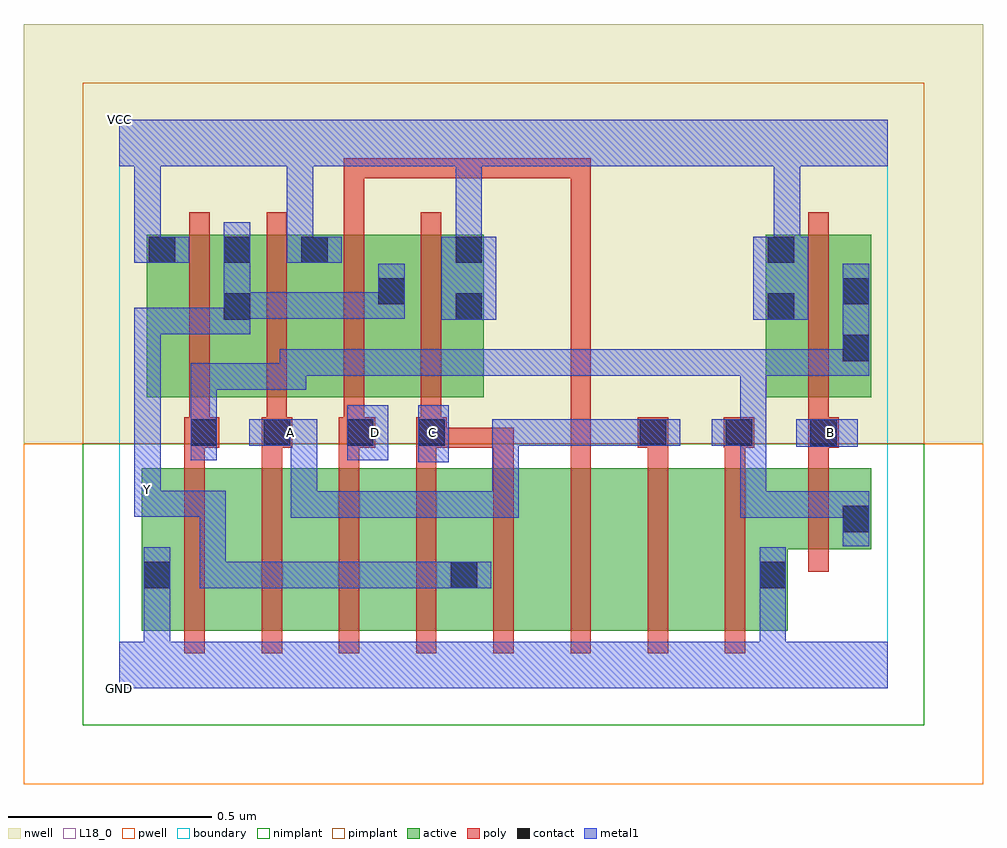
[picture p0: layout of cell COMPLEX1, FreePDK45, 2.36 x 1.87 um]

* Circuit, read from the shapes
.subckt COMPLEX1 A B C D GND VCC Y
M1 n1 n2 GND VSUBS nfet w=0.4u l=0.05u
M2 n3 A n1 VSUBS nfet w=0.4u l=0.05u
M3 n4 D n3 VSUBS nfet w=0.4u l=0.05u
M4 Y C n4 VSUBS nfet w=0.4u l=0.05u
M5 n5 C Y VSUBS nfet w=0.4u l=0.05u
M6 n6 D n5 VSUBS nfet w=0.4u l=0.05u
M7 n7 A n6 VSUBS nfet w=0.4u l=0.05u
M8 GND n2 n7 VSUBS nfet w=0.4u l=0.05u
M9 n2 B GND VSUBS nfet w=0.2u l=0.05u
M10 Y n2 VCC n8 pfet w=0.4u l=0.05u
M11 VCC A Y n8 pfet w=0.4u l=0.05u
M12 Y D VCC n8 pfet w=0.4u l=0.05u
M13 VCC C Y n8 pfet w=0.4u l=0.05u
M14 n2 B VCC n8 pfet w=0.4u l=0.05u
.ends

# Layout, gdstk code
import gdstk
lib = gdstk.Library(unit=1e-6, precision=1e-09)
def R(c, l, rs):  # rectangles x0, y0, x1, y1
    for r in rs: c.add(gdstk.rectangle(r[:2], r[2:], *l))
def A(c, l, x, y, w, h, nx, ny, dx, dy):  # array of equal rectangles
    R(c, l, [(x+i*dx, y+j*dy, x+i*dx+w, y+j*dy+h) for i in range(nx) for j in range(ny)])
active = (1, 0)
pwell = (2, 0)
nwell = (3, 0)
nimplant = (4, 0)
pimplant = (5, 0)
poly = (9, 0)
contact = (10, 0)
metal1 = (11, 0)
L18_0 = (18, 0)
boundary = (235, 0)

complex1 = lib.new_cell('COMPLEX1')
A(complex1, active, 0.252, 0.717, 0.265, 0.4, 3, 1, 0.19, 0)
R(complex1, active, [(0.055,0.142,0.28,0.542), (0.055,0.142,0.13,0.542), (0.28,0.142,0.47,0.542), (0.47,0.142,0.66,0.542), (0.66,0.142,0.885,0.542), (0.81,0.142,1.04,0.542), (1.04,0.142,1.23,0.542), (1.23,0.142,1.42,0.542), (1.42,0.142,1.645,0.542), (0.81,0.147,0.885,0.492), (1.57,0.147,1.645,0.355), (1.57,0.342,1.85,0.542), (1.775,0.342,1.85,0.542), (0.067,0.717,0.142,1.117), (0.067,0.717,0.327,1.117), (1.59,0.717,1.665,1.117), (1.59,0.717,1.85,1.117), (1.775,0.717,1.85,1.057), (0.822,0.782,0.897,1.117), (0.252,0.802,0.327,1.117), (0.632,0.802,0.707,1.117), (0.442,0.907,0.517,1.117)])
R(complex1, pwell, [(-0.235,-0.235,2.125,0.602)])
R(complex1, nwell, [(-0.235,0.602,2.125,1.635)])
R(complex1, nimplant, [(-0.09,-0.09,1.98,0.602)])
R(complex1, pimplant, [(-0.09,0.602,1.98,1.49)])
A(complex1, poly, 0.16, 0.087, 0.05, 0.51, 8, 1, 0.19, 0)
A(complex1, poly, 0.16, 0.547, 0.05, 0.095, 5, 1, 0.19, 0)
A(complex1, poly, 0.172, 0.617, 0.05, 0.095, 4, 1, 0.19, 0)
A(complex1, poly, 0.172, 0.662, 0.05, 0.51, 4, 1, 0.19, 0)
R(complex1, poly, [(1.695,0.287,1.745,0.597), (1.11,0.547,1.16,1.305), (1.3,0.547,1.35,0.642), (1.49,0.547,1.54,0.642), (1.695,0.547,1.745,0.642), (0.16,0.592,0.245,0.667), (0.35,0.592,0.425,0.667), (0.54,0.592,0.63,0.667), (0.73,0.592,0.805,0.667), (0.755,0.592,0.97,0.642), (0.92,0.592,0.97,0.642), (0.92,0.592,0.97,0.642), (0.92,0.592,0.97,0.642), (1.275,0.592,1.35,0.667), (1.487,0.592,1.562,0.667), (1.695,0.592,1.77,0.667), (1.695,0.617,1.745,0.712), (1.695,0.662,1.745,1.172), (0.552,1.122,0.602,1.305), (0.552,1.255,0.602,1.305), (0.552,1.255,0.602,1.305), (0.552,1.255,0.602,1.305), (0.552,1.255,0.735,1.305), (0.685,1.255,0.735,1.305), (0.685,1.255,0.937,1.305), (0.887,1.255,0.937,1.305), (0.887,1.255,0.937,1.305), (0.887,1.255,0.937,1.305), (0.887,1.255,0.937,1.305), (0.887,1.255,0.937,1.305), (0.887,1.255,1.16,1.305), (1.11,1.255,1.16,1.305), (1.11,1.255,1.16,1.305), (1.11,1.255,1.16,1.305), (1.11,1.255,1.16,1.305), (1.11,1.255,1.16,1.305), (1.11,1.255,1.16,1.305), (1.11,1.255,1.16,1.305), (1.11,1.255,1.16,1.305), (1.11,1.255,1.16,1.305), (1.11,1.255,1.16,1.305), (1.11,1.255,1.16,1.305)])
R(complex1, contact, [(0.06,0.247,0.125,0.312), (0.815,0.247,0.88,0.312), (1.575,0.247,1.64,0.312), (1.78,0.385,1.845,0.45), (0.175,0.597,0.24,0.662), (0.355,0.597,0.42,0.662), (0.56,0.597,0.625,0.662), (0.735,0.597,0.8,0.662), (1.28,0.597,1.345,0.662), (1.492,0.597,1.557,0.662), (1.7,0.597,1.765,0.662), (1.78,0.805,1.845,0.87), (0.257,0.907,0.322,0.972), (0.827,0.907,0.892,0.972), (1.595,0.907,1.66,0.972), (0.637,0.945,0.702,1.01), (1.78,0.945,1.845,1.01), (0.072,1.047,0.137,1.112), (0.257,1.047,0.322,1.112), (0.447,1.047,0.512,1.112), (0.827,1.047,0.892,1.112), (1.595,1.047,1.66,1.112)])
R(complex1, metal1, [(0,0,1.89,0.115), (0.06,0.05,0.125,0.277), (1.575,0.05,1.64,0.277), (0.06,0.212,0.125,0.347), (1.575,0.212,1.64,0.347), (0.197,0.247,0.262,0.312), (0.197,0.247,0.487,0.312), (0.197,0.247,0.262,0.487), (0.422,0.247,0.487,0.312), (0.422,0.247,0.487,0.312), (0.422,0.247,0.487,0.312), (0.422,0.247,0.625,0.312), (0.56,0.247,0.625,0.312), (0.56,0.247,0.625,0.312), (0.56,0.247,0.625,0.312), (0.56,0.247,0.845,0.312), (0.78,0.247,0.845,0.312), (0.78,0.247,0.845,0.312), (0.78,0.247,0.915,0.312), (1.78,0.35,1.845,0.485), (0.422,0.42,0.487,0.485), (0.422,0.42,0.487,0.662), (0.422,0.42,0.662,0.485), (0.597,0.42,0.662,0.485), (0.597,0.42,0.662,0.485), (0.597,0.42,0.662,0.485), (0.597,0.42,0.8,0.485), (0.735,0.42,0.8,0.485), (0.735,0.42,0.982,0.485), (0.917,0.42,0.982,0.485), (0.917,0.42,0.982,0.662), (1.527,0.42,1.592,0.485), (1.527,0.42,1.845,0.485), (1.527,0.42,1.592,0.662), (1.78,0.42,1.845,0.485), (1.78,0.42,1.845,0.485), (0.037,0.422,0.102,0.487), (0.037,0.422,0.102,0.487), (0.037,0.422,0.102,0.487), (0.037,0.422,0.102,0.487), (0.037,0.422,0.102,0.557), (0.037,0.422,0.262,0.487), (0.197,0.422,0.262,0.487), (0.037,0.492,0.102,0.557), (0.037,0.492,0.102,0.557), (0.037,0.492,0.102,0.937), (0.735,0.557,0.81,0.697), (0.175,0.562,0.24,0.697), (0.56,0.562,0.662,0.697), (1.665,0.595,1.817,0.662), (0.32,0.597,0.487,0.662), (0.422,0.597,0.487,0.662), (0.422,0.597,0.487,0.662), (0.917,0.597,0.982,0.662), (0.917,0.597,0.982,0.662), (0.917,0.597,0.982,0.662), (0.917,0.597,1.12,0.662), (1.055,0.597,1.12,0.662), (1.055,0.597,1.12,0.662), (1.055,0.597,1.12,0.662), (1.055,0.597,1.31,0.662), (1.245,0.597,1.31,0.662), (1.245,0.597,1.31,0.662), (1.245,0.597,1.38,0.662), (1.457,0.597,1.592,0.662), (1.527,0.597,1.592,0.662), (1.527,0.597,1.592,0.662), (1.527,0.597,1.592,0.835), (0.175,0.632,0.24,0.697), (0.175,0.632,0.24,0.697), (0.175,0.632,0.24,0.8), (0.175,0.735,0.24,0.8), (0.175,0.735,0.46,0.8), (0.395,0.735,0.46,0.835), (0.395,0.77,0.46,0.835), (0.395,0.77,0.46,0.835), (0.395,0.77,0.662,0.835), (0.597,0.77,0.662,0.835), (0.597,0.77,0.662,0.835), (0.597,0.77,0.662,0.835), (0.597,0.77,0.845,0.835), (0.78,0.77,0.845,0.835), (0.78,0.77,0.982,0.835), (0.917,0.77,0.982,0.835), (0.917,0.77,0.982,0.835), (0.917,0.77,0.982,0.835), (0.917,0.77,1.172,0.835), (1.107,0.77,1.172,0.835), (1.107,0.77,1.172,0.835), (1.107,0.77,1.172,0.835), (1.107,0.77,1.312,0.835), (1.247,0.77,1.312,0.835), (1.247,0.77,1.312,0.835), (1.247,0.77,1.312,0.835), (1.247,0.77,1.45,0.835), (1.385,0.77,1.45,0.835), (1.385,0.77,1.45,0.835), (1.385,0.77,1.45,0.835), (1.385,0.77,1.592,0.835), (1.527,0.77,1.592,0.835), (1.527,0.77,1.845,0.835), (1.78,0.77,1.845,0.835), (1.78,0.77,1.845,0.835), (1.78,0.77,1.845,1.045), (0.037,0.872,0.102,0.937), (0.037,0.872,0.102,0.937), (0.037,0.872,0.102,0.937), (0.037,0.872,0.322,0.937), (0.257,0.872,0.322,1.147), (0.792,0.907,0.927,1.112), (1.56,0.907,1.695,1.112), (0.257,0.91,0.487,0.975), (0.422,0.91,0.487,0.975), (0.422,0.91,0.487,0.975), (0.422,0.91,0.487,0.975), (0.422,0.91,0.625,0.975), (0.56,0.91,0.625,0.975), (0.56,0.91,0.702,0.975), (0.637,0.91,0.702,1.045), (0.037,1.047,0.102,1.112), (0.037,1.047,0.102,1.112), (0.037,1.047,0.102,1.35), (0.037,1.047,0.172,1.112), (0.412,1.047,0.477,1.35), (0.412,1.047,0.547,1.112), (0.827,1.047,0.892,1.35), (1.61,1.047,1.675,1.35), (0,1.285,1.89,1.4), (0.412,1.285,0.477,1.35), (0.412,1.285,0.477,1.35), (0.827,1.285,0.892,1.35), (0.827,1.285,0.892,1.35), (1.61,1.285,1.675,1.35), (1.61,1.285,1.675,1.35)])
A(complex1, L18_0, 0.037, 0.422, 0.065, 0.065, 1, 3, 0, 0.035)
R(complex1, L18_0, [(0,0,1.89,0.115), (0.06,0.05,0.125,0.277), (1.575,0.05,1.64,0.277), (0.06,0.212,0.125,0.347), (1.575,0.212,1.64,0.347), (0.197,0.247,0.262,0.312), (0.197,0.247,0.262,0.487), (0.197,0.247,0.487,0.312), (0.422,0.247,0.487,0.312), (0.422,0.247,0.487,0.312), (0.422,0.247,0.487,0.312), (0.422,0.247,0.625,0.312), (0.56,0.247,0.625,0.312), (0.56,0.247,0.625,0.312), (0.56,0.247,0.625,0.312), (0.56,0.247,0.845,0.312), (0.78,0.247,0.845,0.312), (0.78,0.247,0.845,0.312), (0.78,0.247,0.915,0.312), (0.422,0.42,0.487,0.485), (0.422,0.42,0.487,0.662), (0.422,0.42,0.662,0.485), (0.597,0.42,0.662,0.485), (0.597,0.42,0.662,0.485), (0.597,0.42,0.662,0.485), (0.597,0.42,0.8,0.485), (0.735,0.42,0.8,0.485), (0.735,0.42,0.982,0.485), (0.917,0.42,0.982,0.485), (0.917,0.42,0.982,0.662), (0.037,0.422,0.102,0.557), (0.037,0.422,0.102,0.487), (0.037,0.422,0.102,0.487), (0.037,0.422,0.102,0.487), (0.037,0.422,0.262,0.487), (0.197,0.422,0.262,0.487), (0.037,0.492,0.102,0.557), (0.037,0.492,0.102,0.937), (0.735,0.557,0.81,0.697), (0.56,0.562,0.662,0.697), (1.665,0.595,1.817,0.662), (0.32,0.597,0.487,0.662), (0.387,0.597,0.452,0.662), (0.422,0.597,0.487,0.662), (0.422,0.597,0.487,0.662), (0.597,0.597,0.662,0.662), (0.737,0.597,0.802,0.662), (0.917,0.597,0.982,0.662), (0.917,0.597,0.982,0.662), (0.917,0.597,0.982,0.662), (0.917,0.597,1.12,0.662), (1.055,0.597,1.12,0.662), (1.055,0.597,1.12,0.662), (1.055,0.597,1.12,0.662), (1.055,0.597,1.31,0.662), (1.245,0.597,1.31,0.662), (1.245,0.597,1.31,0.662), (1.245,0.597,1.38,0.662), (1.717,0.597,1.782,0.662), (0.037,0.872,0.102,0.937), (0.037,0.872,0.102,0.937), (0.037,0.872,0.102,0.937), (0.037,0.872,0.322,0.937), (0.257,0.872,0.322,1.147), (0.792,0.907,0.927,1.112), (1.56,0.907,1.695,1.112), (0.257,0.91,0.487,0.975), (0.422,0.91,0.487,0.975), (0.422,0.91,0.487,0.975), (0.422,0.91,0.487,0.975), (0.422,0.91,0.625,0.975), (0.56,0.91,0.625,0.975), (0.56,0.91,0.702,0.975), (0.637,0.91,0.702,1.045), (0.037,1.047,0.102,1.112), (0.037,1.047,0.102,1.112), (0.037,1.047,0.172,1.112), (0.037,1.047,0.102,1.35), (0.412,1.047,0.547,1.112), (0.412,1.047,0.477,1.35), (0.827,1.047,0.892,1.35), (1.61,1.047,1.675,1.35), (0,1.285,1.89,1.4), (0.412,1.285,0.477,1.35), (0.412,1.285,0.477,1.35), (0.827,1.285,0.892,1.35), (0.827,1.285,0.892,1.35), (1.61,1.285,1.675,1.35), (1.61,1.285,1.675,1.35)])
R(complex1, boundary, [(0,0,1.89,1.4)])
complex1.add(gdstk.Label('A', (0.42,0.63), layer=11, texttype=0))
complex1.add(gdstk.Label('B', (1.75,0.63), layer=11, texttype=0))
complex1.add(gdstk.Label('C', (0.77,0.63), layer=11, texttype=0))
complex1.add(gdstk.Label('D', (0.63,0.63), layer=11, texttype=0))
complex1.add(gdstk.Label('Y', (0.07,0.49), layer=11, texttype=0))
complex1.add(gdstk.Label('VCC', (0,1.4), layer=11, texttype=0))
complex1.add(gdstk.Label('GND', (0,0), layer=11, texttype=0))

lib.write_gds('COMPLEX1.gds')
